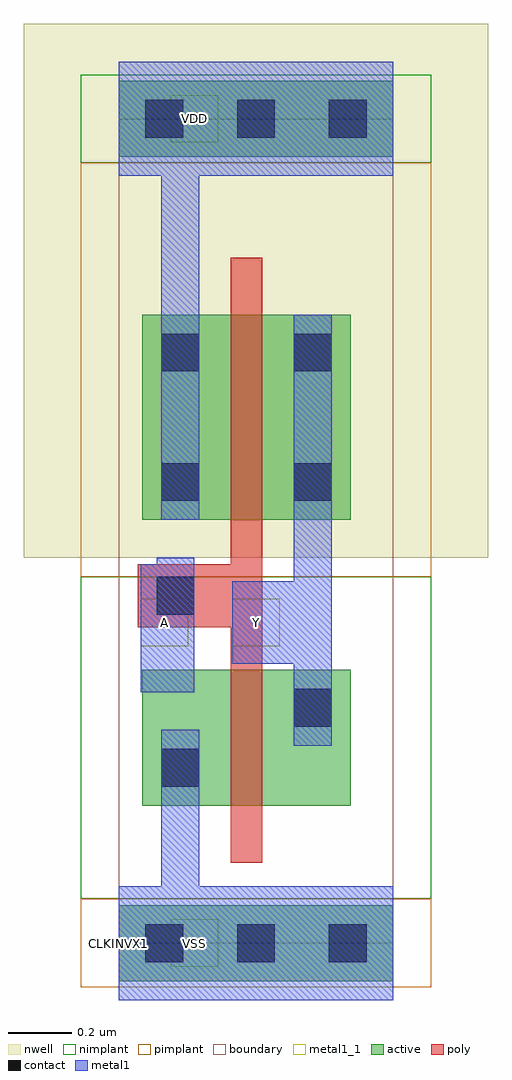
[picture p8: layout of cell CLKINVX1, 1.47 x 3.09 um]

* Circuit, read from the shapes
.subckt CLKINVX1 A VDD VSS Y
M1 Y A VSS VSS nfet w=0.43u l=0.1u
M2 Y A VDD VDD pfet w=0.65u l=0.1u
.ends

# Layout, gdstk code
import gdstk
lib = gdstk.Library(unit=1e-6, precision=5e-10)
def R(c, l, rs):  # rectangles x0, y0, x1, y1
    for r in rs: c.add(gdstk.rectangle(r[:2], r[2:], *l))
def A(c, l, x, y, w, h, nx, ny, dx, dy):  # array of equal rectangles
    R(c, l, [(x+i*dx, y+j*dy, x+i*dx+w, y+j*dy+h) for i in range(nx) for j in range(ny)])
active = (1, 0)
nwell = (2, 0)
poly = (3, 0)
nimplant = (4, 0)
pimplant = (5, 0)
contact = (6, 0)
metal1 = (7, 0)
metal1_1 = (7, 1)
boundary = (62, 0)

clkinvx1 = lib.new_cell('CLKINVX1')
R(clkinvx1, active, [(0,-0.12,0.87,0.12), (0.075,0.435,0.735,0.865), (0.075,1.34,0.735,1.99), (0,2.49,0.87,2.73)])
R(clkinvx1, nwell, [(-0.3,1.22,1.17,2.91)])
R(clkinvx1, poly, [(0.355,0.255,0.455,1), (0.06,1,0.455,1.2), (0.355,1.2,0.455,2.17)])
R(clkinvx1, nimplant, [(-0.12,0.14,0.99,1.16), (-0.12,2.47,0.99,2.75)])
R(clkinvx1, pimplant, [(-0.12,-0.14,0.99,0.14), (-0.12,1.16,0.99,2.47)])
A(clkinvx1, contact, 0.085, -0.06, 0.12, 0.12, 3, 2, 0.29, 2.61)
R(clkinvx1, contact, [(0.135,0.495,0.255,0.615), (0.555,0.685,0.675,0.805), (0.12,1.04,0.24,1.16), (0.135,1.4,0.255,1.52), (0.555,1.4,0.675,1.52), (0.135,1.81,0.255,1.93), (0.555,1.81,0.675,1.93)])
R(clkinvx1, metal1, [(0,-0.18,0.87,0.18), (0.135,0.18,0.255,0.675), (0.555,0.625,0.675,0.885), (0.07,0.795,0.24,1.2), (0.36,0.885,0.675,1.145), (0.555,1.145,0.675,1.99), (0.12,1.2,0.24,1.22), (0.135,1.34,0.255,2.43), (0,2.43,0.87,2.79)])
R(clkinvx1, metal1_1, [(0.165,-0.075,0.315,0.075), (0.07,0.94,0.22,1.09), (0.36,0.94,0.51,1.09), (0.165,2.535,0.315,2.685)])
R(clkinvx1, boundary, [(0,0,0.87,2.61)])
clkinvx1.add(gdstk.Label('CLKINVX1', (0,0), layer=63, texttype=0))
clkinvx1.add(gdstk.Label('VSS', (0.24,0), layer=7, texttype=3))
clkinvx1.add(gdstk.Label('VDD', (0.24,2.61), layer=7, texttype=3))
clkinvx1.add(gdstk.Label('A', (0.145,1.015), layer=7, texttype=3))
clkinvx1.add(gdstk.Label('Y', (0.435,1.015), layer=7, texttype=3))

lib.write_gds('CLKINVX1.gds')
